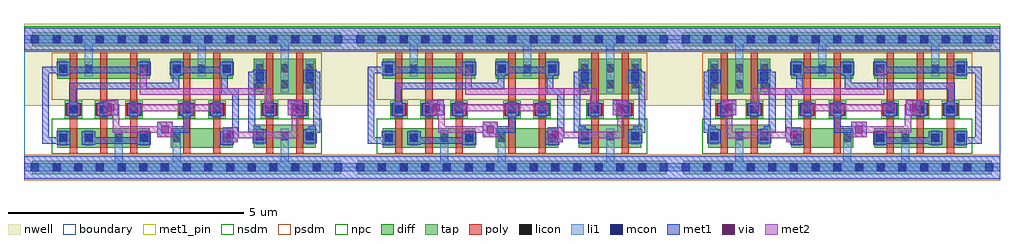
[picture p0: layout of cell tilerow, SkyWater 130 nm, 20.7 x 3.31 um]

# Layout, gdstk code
from math import pi, radians
import gdstk
lib = gdstk.Library(unit=1e-6, precision=1e-09)
def R(c, l, rs):  # rectangles x0, y0, x1, y1
    for r in rs: c.add(gdstk.rectangle(r[:2], r[2:], *l))
def A(c, l, x, y, w, h, nx, ny, dx, dy):  # array of equal rectangles
    R(c, l, [(x+i*dx, y+j*dy, x+i*dx+w, y+j*dy+h) for i in range(nx) for j in range(ny)])
nwell = (64, 20)
diff = (65, 20)
tap = (65, 44)
poly = (66, 20)
licon = (66, 44)
li1 = (67, 20)
mcon = (67, 44)
met1_pin = (68, 16)
met1 = (68, 20)
via = (68, 44)
met2 = (69, 20)
nsdm = (93, 44)
psdm = (94, 20)
npc = (95, 20)
boundary = (235, 4)

c_ha = lib.new_cell('ha')
R(c_ha, nwell, [(0,1.31,6.9,3.045)])
R(c_ha, diff, [(0.71,0.415,2.67,0.835), (3.11,0.415,4.43,0.835), (4.87,0.415,6.19,0.905), (4.87,1.555,6.19,2.305), (0.71,1.885,2.67,2.305), (3.11,1.885,4.43,2.305)])
R(c_ha, tap, [(0.18,-0.145,6.72,0.145), (0.18,2.575,6.72,2.865)])
A(c_ha, poly, 0.975, 0.285, 0.15, 2.15, 3, 1, 0.64, 0)
A(c_ha, poly, 0.885, 1.095, 0.33, 0.27, 3, 1, 0.64, 0)
R(c_ha, poly, [(3.375,0.285,3.525,2.435), (4.015,0.285,4.165,2.435), (5.135,0.285,5.285,2.435), (5.775,0.285,5.925,2.435), (3.285,1.095,3.615,1.365), (3.925,1.095,4.255,1.365), (5.045,1.095,5.375,1.365), (5.685,1.095,6.015,1.365)])
A(c_ha, licon, 0.605, -0.085, 0.17, 0.17, 13, 2, 0.46, 2.72)
A(c_ha, licon, 4.91, 0.575, 0.17, 0.17, 3, 2, 0.535, 1.1)
A(c_ha, licon, 0.965, 1.145, 0.17, 0.17, 3, 1, 0.64, 0)
A(c_ha, licon, 3.15, 2.01, 0.17, 0.17, 3, 1, 0.535, 0)
A(c_ha, licon, 4.91, 2.015, 0.17, 0.17, 3, 1, 0.535, 0)
R(c_ha, licon, [(0.75,0.54,0.92,0.71), (1.285,0.54,1.455,0.71), (1.925,0.54,2.095,0.71), (2.46,0.54,2.63,0.71), (3.15,0.54,3.32,0.71), (4.22,0.54,4.39,0.71), (3.365,1.145,3.535,1.315), (4.005,1.145,4.175,1.315), (5.125,1.145,5.295,1.315), (5.765,1.145,5.935,1.315), (0.75,2.01,0.92,2.18), (1.285,2.01,1.455,2.18), (2.46,2.01,2.63,2.18)])
A(c_ha, li1, 4.91, 0.495, 0.17, 0.33, 3, 1, 0.535, 0)
A(c_ha, li1, 0.965, 1.065, 0.17, 0.33, 3, 1, 0.64, 0)
A(c_ha, li1, 4.91, 1.595, 0.17, 0.67, 3, 1, 0.535, 0)
A(c_ha, li1, 3.15, 1.93, 0.17, 0.33, 3, 1, 0.535, 0)
R(c_ha, li1, [(0,-0.085,6.9,0.085), (1.925,-0.085,2.095,0.79), (3.15,-0.085,3.32,0.79), (5.445,-0.085,5.615,0.825), (0.75,0.46,0.92,0.79), (1.285,0.46,1.455,0.79), (1.925,0.46,2.095,0.79), (2.46,0.46,2.63,0.79), (3.15,0.46,3.32,0.79), (4.22,0.46,4.39,0.79), (3.365,1.065,3.535,1.395), (4.005,1.065,4.175,1.395), (5.125,1.065,5.295,1.395), (5.765,1.065,5.935,1.395), (5.445,1.595,5.615,2.805), (0.75,1.93,0.92,2.26), (1.285,1.93,1.455,2.26), (1.285,1.93,1.455,2.805), (2.46,1.93,2.63,2.26), (3.685,1.93,3.855,2.805), (0,2.635,6.9,2.805)])
A(c_ha, mcon, 0.145, -0.085, 0.17, 0.17, 15, 2, 0.46, 2.72)
A(c_ha, mcon, 0.965, 1.145, 0.17, 0.17, 3, 1, 0.64, 0)
R(c_ha, mcon, [(0.75,0.54,0.92,0.71), (1.285,0.54,1.455,0.71), (2.46,0.54,2.63,0.71), (4.22,0.54,4.39,0.71), (4.91,0.575,5.08,0.745), (5.98,0.575,6.15,0.745), (3.365,1.145,3.535,1.315), (4.005,1.145,4.175,1.315), (5.125,1.145,5.295,1.315), (5.765,1.145,5.935,1.315), (4.91,1.845,5.08,2.015), (5.98,1.845,6.15,2.015), (0.75,2.01,0.92,2.18), (2.46,2.01,2.63,2.18), (3.15,2.01,3.32,2.18), (4.22,2.01,4.39,2.18)])
R(c_ha, met1_pin, [(0,-0.24,6.9,0.24), (4.85,0.515,5.14,0.805), (5.92,0.515,6.21,0.805), (1.545,1.085,1.835,1.375), (2.185,1.085,2.475,1.375), (0,2.48,6.9,2.96)])
A(c_ha, met1, 0.905, 1.085, 0.29, 0.29, 3, 1, 0.64, 0)
R(c_ha, met1, [(0,-0.24,6.9,0.24), (0.69,0.48,0.98,0.77), (1.225,0.48,1.515,0.77), (2.4,0.48,2.69,0.77), (4.16,0.48,4.45,0.77), (0.39,0.505,0.875,0.645), (0.39,0.505,0.53,2.14), (1.31,0.505,1.45,0.645), (1.31,0.505,2.6,0.645), (2.46,0.505,2.6,0.645), (4.85,0.515,5.14,0.805), (5.92,0.515,6.21,0.805), (4.21,0.53,4.53,0.85), (4.3,0.62,4.44,0.76), (4.3,0.62,4.555,0.76), (4.415,0.62,4.555,1.68), (4.875,0.62,5.015,0.76), (4.875,0.62,5.015,0.875), (6.025,0.62,6.165,0.76), (6.025,0.62,6.165,0.875), (2.83,0.645,3.15,0.965), (2.92,0.735,3.52,0.875), (3.38,0.735,3.52,1.335), (4.76,0.735,5.015,0.875), (4.76,0.735,4.9,2.025), (6.025,0.735,6.28,0.875), (6.14,0.735,6.28,2.025), (3.305,1.085,3.595,1.375), (3.945,1.085,4.235,1.375), (5.065,1.085,5.355,1.375), (5.705,1.085,5.995,1.375), (1.68,1.105,2,1.425), (5.59,1.105,5.91,1.425), (0.965,1.195,1.105,1.335), (0.965,1.195,1.105,1.795), (1.655,1.195,1.795,1.335), (1.655,1.195,1.91,1.335), (3.38,1.195,3.52,1.335), (5.68,1.195,5.935,1.335), (5.795,1.195,5.935,1.335), (4.185,1.54,4.325,2.14), (4.185,1.54,4.555,1.68), (0.965,1.655,3.29,1.795), (3.15,1.655,3.29,2.14), (4.85,1.785,5.14,2.075), (5.92,1.785,6.21,2.075), (4.76,1.885,5.015,2.025), (4.875,1.885,5.015,2.025), (6.025,1.885,6.165,2.025), (6.025,1.885,6.28,2.025), (0.69,1.95,0.98,2.24), (2.4,1.95,2.69,2.24), (3.09,1.95,3.38,2.24), (4.16,1.95,4.45,2.24), (0.39,2,2.6,2.14), (3.15,2,3.29,2.14), (3.15,2,4.325,2.14), (4.185,2,4.325,2.14), (0,2.48,6.9,2.96)])
R(c_ha, via, [(4.295,0.615,4.445,0.765), (2.915,0.73,3.065,0.88), (1.765,1.19,1.915,1.34), (5.675,1.19,5.825,1.34)])
R(c_ha, met2, [(4.21,0.53,4.53,0.85), (4.3,0.62,5.82,0.76), (5.68,0.62,5.82,1.335), (2.83,0.645,3.15,0.965), (1.885,0.735,2.025,1.335), (1.885,0.735,3.06,0.875), (1.68,1.105,2,1.425), (5.59,1.105,5.91,1.425), (1.77,1.195,2.025,1.335), (2.23,1.195,4.21,1.335), (5.105,1.195,5.245,1.68), (2.46,1.54,2.6,2.14), (2.46,1.54,5.245,1.68)])
R(c_ha, nsdm, [(0.585,0.29,6.315,1.03), (0,2.45,6.9,2.99)])
R(c_ha, psdm, [(0,-0.27,6.9,0.27), (0.585,1.43,6.315,2.43)])
A(c_ha, npc, 0.865, 1.045, 0.37, 0.37, 3, 1, 0.64, 0)
R(c_ha, npc, [(3.265,1.045,3.635,1.415), (3.905,1.045,4.275,1.415), (5.025,1.045,5.395,1.415), (5.665,1.045,6.035,1.415)])
R(c_ha, boundary, [(0,0,6.9,2.72)])
c_ha.add(gdstk.Label('n1', (1.05,1.23), layer=67, texttype=5))
c_ha.add(gdstk.Label('n3', (5.21,1.23), layer=67, texttype=5))
c_ha.add(gdstk.Label('n4', (1.37,0.625), layer=67, texttype=5))
c_ha.add(gdstk.Label('A', (1.69,1.23), layer=68, texttype=5))
c_ha.add(gdstk.Label('B', (2.33,1.23), layer=68, texttype=5))
c_ha.add(gdstk.Label('SUM', (4.995,0.66), layer=68, texttype=5))
c_ha.add(gdstk.Label('COUT', (6.065,0.66), layer=68, texttype=5))
c_ha.add(gdstk.Label('VPWR', (3.45,2.72), layer=68, texttype=5))
c_ha.add(gdstk.Label('VGND', (3.45,0), layer=68, texttype=5))
c_ha.add(gdstk.Label('A', (1.69,1.23), layer=68, texttype=16))
c_ha.add(gdstk.Label('B', (2.33,1.23), layer=68, texttype=16))
c_ha.add(gdstk.Label('SUM', (4.995,0.66), layer=68, texttype=16))
c_ha.add(gdstk.Label('COUT', (6.065,0.66), layer=68, texttype=16))
c_ha.add(gdstk.Label('VPWR', (3.45,2.72), layer=68, texttype=16))
c_ha.add(gdstk.Label('VGND', (3.45,0), layer=68, texttype=16))

tilerow = lib.new_cell('tilerow')
tilerow.add(gdstk.Reference(c_ha, (0,0)))
tilerow.add(gdstk.Reference(c_ha, (6.9,0)))
tilerow.add(gdstk.Reference(c_ha, (20.7,0), rotation=pi, x_reflection=True))

lib.write_gds('tilerow.gds')
